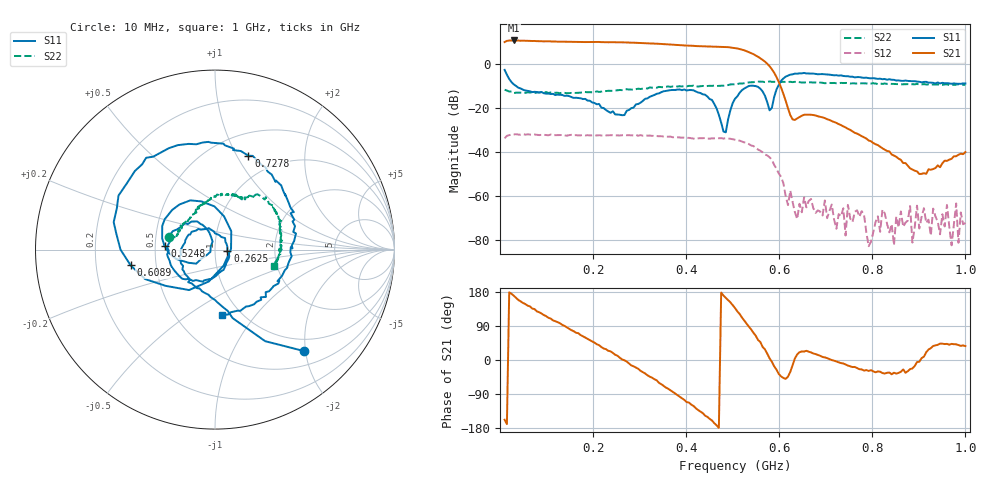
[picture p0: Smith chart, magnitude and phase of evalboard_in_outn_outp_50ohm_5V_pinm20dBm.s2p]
#  HZ  S  DB  R  50.0
! Rohde & Schwarz ZVL
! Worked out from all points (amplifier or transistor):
!   201 points, 10 MHz to 1 GHz, reference 50 ohm
!   highest |S21| = 10.9 dB at 29.8 MHz (marker M1)
!   |S21| within 3 dB of that: start of sweep to 484.7 MHz
!   unconditionally stable (mu >= 1): start of sweep to end of sweep
!   at 173.3 MHz: K = 5.92, MAG = 10.6 dB, |S12| = -32.4 dB
!   at 505 MHz: K = 9.46, MAG = 8.1 dB, |S12| = -34.3 dB
!   at 1 GHz: K = 158945.31, MAG = -38.9 dB, |S12| = -72.4 dB
!   S11 on the Smith chart (normalised r, x): 10 MHz: 0.76, -1.96; 262.4 MHz: 1.15, -0.02; 524.8 MHz: 0.56, +0.02; 609 MHz: 0.36, -0.08; 727.8 MHz: 0.74, +1.12; 1 GHz: 0.82, -0.69
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1e7  -2.50 -48.8  10.20 -157.7  -33.77 50.3  -11.55 164.5
2.98e7  -9.13 -78.2  10.94 169.5  -31.96 1.8  -13.09 162.9
1.0405e8  -13.33 -140.7  10.55 111.4  -32.37 -59.9  -13.04 146.2
1.783e8  -15.81 148.8  10.22 62.6  -32.25 -105.7  -12.60 124.9
2.6245e8  -23.19 -6.7  10.07 1.5  -32.32 -160.4  -11.74 109.8
3.4165e8  -13.21 -132.0  9.41 -60.4  -32.80 139.6  -10.25 87.8
3.9115e8  -11.77 -178.8  8.75 -100.8  -33.41 100.6  -10.06 74.5
4.4065e8  -13.82 129.9  8.23 -146.7  -33.61 58.0  -9.97 61.7
4.852e8  -31.00 -154.0  7.93 163.9  -33.76 11.3  -9.54 60.5
5.05e8  -15.68 -153.5  7.48 137.2  -34.33 -17.9  -9.13 57.9
5.248e8  -11.02 176.3  6.43 104.2  -35.61 -48.6  -8.58 53.8
5.644e8  -12.37 90.7  2.06 34.4  -40.13 -112.2  -7.88 43.3
6.0895e8  -6.40 -169.5  -13.46 -47.5  -54.24 149.9  -7.96 31.0
6.3865e8  -4.23 142.7  -24.66 14.9  -70.59 -117.8  -7.94 25.1
6.733e8  -4.18 109.6  -23.12 17.1  -65.69 -131.5  -8.24 19.4
7.2775e8  -5.11 70.4  -27.27 -6.3  -68.37 170.4  -8.59 7.5
8.3665e8  -6.74 11.2  -39.70 -33.0  -76.70 95.4  -8.75 -4.0
8.812e8  -7.61 -10.3  -47.46 -24.0  -64.68 -96.1  -9.16 -9.8
8.8615e8  -7.65 -13.1  -48.01 -22.2  -81.35 -23.7  -9.04 -9.2
8.9605e8  -7.84 -16.4  -48.85 -5.4  -64.49 -159.2  -8.91 -10.9
9.2575e8  -8.31 -33.0  -48.11 31.3  -78.16 152.5  -9.28 -11.3
1e9  -8.69 -83.6  -40.02 36.8  -72.36 -128.3  -9.33 -15.6
